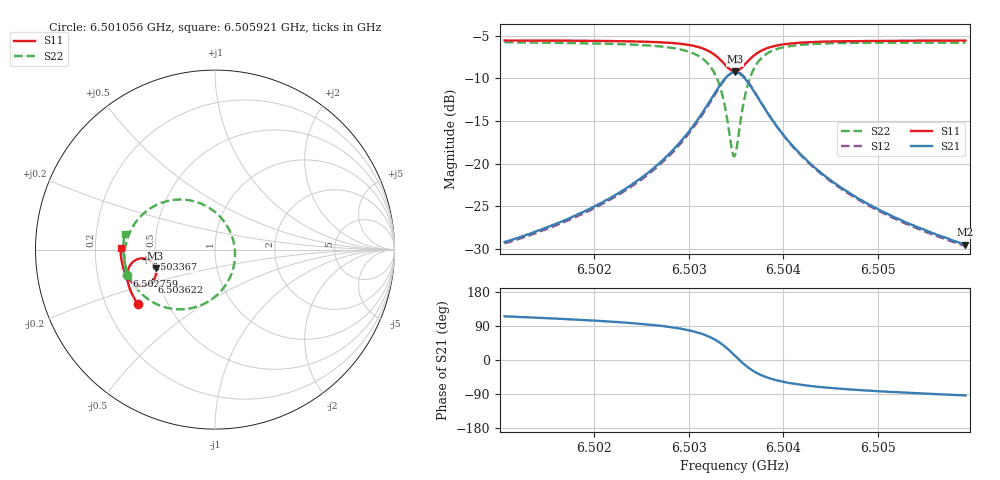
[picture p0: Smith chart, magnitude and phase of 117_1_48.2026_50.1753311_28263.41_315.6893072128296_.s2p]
#  HZ  S  RI  R  50.00
! Rohde & Schwarz Vector Network Analyzer
! Rohde-Schwarz,ZNB20-2Port,1311601062101988,3.16
! Created: UTC 3/20/2024, 11:41:14 AM
! freq[Hz]  re:S11  im:S11  re:S21  im:S21  re:S12  im:S12  re:S22  im:S22
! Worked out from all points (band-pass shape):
!   401 points, 6.501056 GHz to 6.505921 GHz, reference 50 ohm
!   highest |S21| = -9.30 dB at 6.503488 GHz (marker M1); lowest = -29.5 dB at 6.505921 GHz (marker M2)
!   |S21| within 3 dB of the highest: 6.503244 GHz to 6.503731 GHz (487.3 kHz wide, 0.00749 % of centre)
!   lowest |S11| = -9.2 dB at 6.503488 GHz (marker M3), VSWR 2.06, Z = 24.7 - j5.79 ohm
!   |S11| at or under -10 dB: nowhere
!   |S22| runs from -19.2 to -5.8 dB; largest |S21 - S12| = 0.012
!   S11 on the Smith chart (normalised r, x): 6.501056 GHz: 0.34, -0.28; 6.502759 GHz: 0.33, -0.13; 6.503367 GHz: 0.44, -0.05; 6.503622 GHz: 0.45, -0.19; 6.505921 GHz: 0.31, +0.01
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6.5010558e9  -0.4311 -0.3022  -0.0148 0.0314  -0.0132 0.0315  -0.4931 -0.1437
6.5018707e9  -0.4654 -0.2411  -0.014 0.0498  -0.0116 0.0492  -0.504 -0.055
6.5023085e9  -0.4803 -0.2016  -0.0109 0.069  -0.00791 0.0679  -0.5002 0.00903
6.5026856e9  -0.4889 -0.1589  -0.00135 0.0998  0.0025 0.0976  -0.4785 0.0871
6.5027586e9  -0.4894 -0.1489  0.00286 0.1093  0.00657 0.1063  -0.4697 0.1065
6.5029653e9  -0.4856 -0.1155  0.0246 0.1433  0.0282 0.1387  -0.4244 0.1743
6.5031234e9  -0.4705 -0.0832  0.0645 0.1796  0.0674 0.1737  -0.3463 0.2382
6.5032694e9  -0.4321 -0.0536  0.1474 0.2083  0.1481 0.2019  -0.195 0.2789
6.5033181e9  -0.4107 -0.0488  0.1905 0.2068  0.1906 0.2009  -0.1196 0.2697
6.5033667e9  -0.3851 -0.0512  0.2399 0.1911  0.24 0.1862  -0.0348 0.2344
6.5034518e9  -0.342 -0.0808  0.3187 0.1152  0.3211 0.1108  0.091 0.0843
6.5034883e9  -0.3311 -0.1032  0.3362 0.0658  0.3399 0.06  0.1112 -0.00852
6.5035127e9  -0.3282 -0.1195  0.3395 0.0307  0.3435 0.0237  0.1082 -0.0726
6.5035491e9  -0.3306 -0.1438  0.3319 -0.0201  0.3353 -0.0291  0.0799 -0.1625
6.5036221e9  -0.353 -0.1813  0.2844 -0.0966  0.2841 -0.1085  -0.0323 -0.2862
6.5037316e9  -0.3991 -0.2015  0.1965 -0.1421  0.191 -0.1521  -0.2104 -0.3324
6.5038897e9  -0.4465 -0.192  0.1119 -0.138  0.1045 -0.1433  -0.3629 -0.2831
6.50406e9  -0.4747 -0.1707  0.0657 -0.1168  0.0594 -0.1191  -0.4371 -0.2156
6.5043032e9  -0.4956 -0.1409  0.035 -0.0913  0.0299 -0.0918  -0.4816 -0.1415
6.5046681e9  -0.5114 -0.102  0.0155 -0.0672  0.0119 -0.0666  -0.5044 -0.0657
6.5051181e9  -0.5208 -0.0597  0.00529 -0.0499  0.00292 -0.0491  -0.5106 0.000163
6.5059209e9  -0.526 0.00865  -0.002 -0.0334  -0.00346 -0.0326  -0.5034 0.0874
